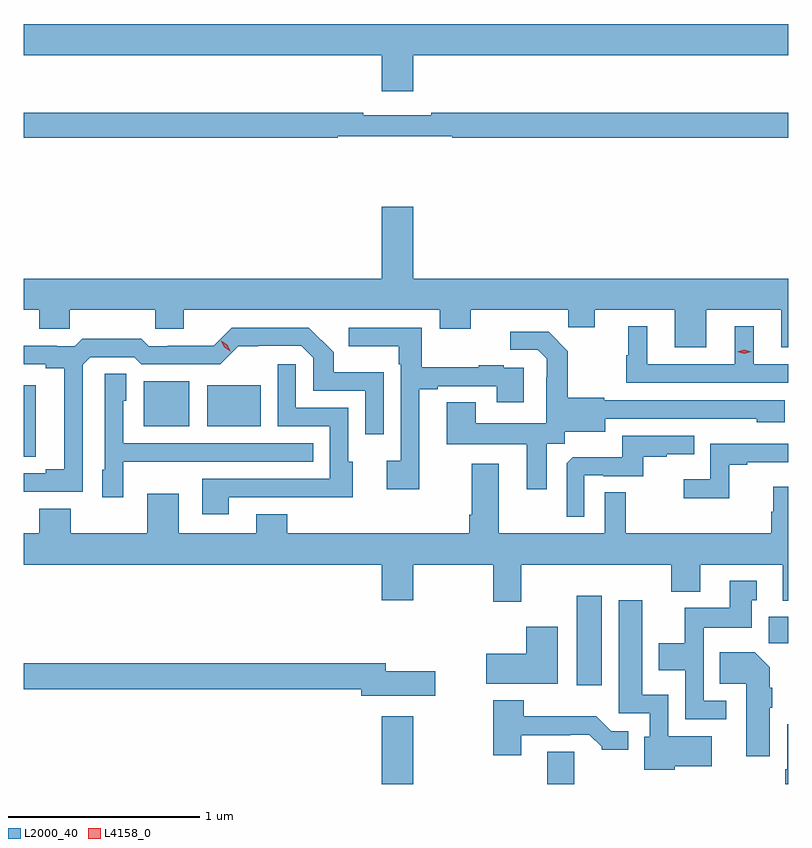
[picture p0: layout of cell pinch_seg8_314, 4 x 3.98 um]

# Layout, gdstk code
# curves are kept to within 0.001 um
import gdstk
lib = gdstk.Library(unit=1e-6, precision=1e-09)
def R(c, l, rs):  # rectangles x0, y0, x1, y1
    for r in rs: c.add(gdstk.rectangle(r[:2], r[2:], *l))
def P(c, l, *ps):  # polygons
    for p in ps: c.add(gdstk.Polygon(p, *l))
L2000_40 = (2000, 40)
L4158_0 = (4158, 0)

pinch_seg8_314 = lib.new_cell('pinch_seg8_314')
R(pinch_seg8_314, L2000_40, [(596.576,1140.66,596.74,1141.015), (597.443,1140.66,597.583,1140.83), (597.596,1141.176,597.727,1141.645), (598.601,1141.396,598.703,1141.534), (594.703,1142.371,594.766,1142.746), (595.331,1142.531,595.57,1142.767), (595.664,1142.531,595.942,1142.746)])
P(pinch_seg8_314, L2000_40, [(596.74,1144.472),(598.703,1144.472),(598.703,1144.636),(594.703,1144.636),(594.703,1144.472),(596.576,1144.472),(596.576,1144.284),(596.74,1144.284)],
  [(596.345,1144.05),(596.945,1144.05),(596.945,1144.042),(598.703,1144.042),(598.703,1144.171),(596.836,1144.171),(596.836,1144.158),(596.48,1144.158),(596.48,1144.171),(594.703,1144.171),(594.703,1144.042),(596.345,1144.042)],
  [(598.273,1143.14),(598.667,1143.14),(598.667,1142.946),(598.703,1142.946),(598.703,1143.304),(596.74,1143.304),(596.74,1143.679),(596.576,1143.679),(596.576,1143.304),(594.703,1143.304),(594.703,1143.14),(594.785,1143.14),(594.785,1143.042),(594.945,1143.042),(594.945,1143.14),(595.39,1143.14),(595.39,1143.042),(595.54,1143.042),(595.54,1143.14),(596.879,1143.14),(596.879,1143.041),(597.043,1143.041),(597.043,1143.14),(597.553,1143.14),(597.553,1143.05),(597.691,1143.05),(597.691,1143.14),(598.109,1143.14),(598.109,1142.946),(598.273,1142.946)],
  [(598.703,1142.856),(598.522,1142.856),(598.522,1143.055),(598.424,1143.055),(598.424,1142.856),(597.964,1142.856),(597.964,1143.055),(597.866,1143.055),(597.866,1142.904),(597.855,1142.904),(597.855,1142.76),(598.703,1142.76)],
  [(596.773,1142.724),(596.869,1142.724),(596.869,1142.742),(597.179,1142.742),(597.179,1142.658),(597.319,1142.658),(597.319,1142.838),(597.215,1142.838),(597.215,1142.851),(597.083,1142.851),(597.083,1142.84),(596.785,1142.84),(596.785,1143.048),(596.403,1143.048),(596.403,1142.951),(596.664,1142.951),(596.664,1142.855),(596.676,1142.855),(596.676,1142.35),(596.601,1142.35),(596.601,1142.202),(596.773,1142.202)],
  [(595.011,1142.853),(595.05,1142.892),(595.281,1142.892),(595.317,1142.856),(595.731,1142.856),(595.826,1142.951),(596.154,1142.952),(596.217,1142.889),(596.217,1142.718),(596.49,1142.718),(596.49,1142.49),(596.586,1142.49),(596.586,1142.815),(596.325,1142.815),(596.325,1142.918),(596.194,1143.048),(595.791,1143.048),(595.697,1142.954),(595.456,1142.954),(595.456,1142.949),(595.356,1142.949),(595.317,1142.989),(595.009,1142.989),(594.969,1142.949),(594.875,1142.949),(594.875,1142.954),(594.703,1142.954),(594.703,1142.856),(594.818,1142.856),(594.818,1142.834),(594.914,1142.834),(594.914,1142.306),(594.818,1142.306),(594.818,1142.286),(594.703,1142.286),(594.703,1142.19),(595.011,1142.19)],
  [(597.439,1142.44),(597.534,1142.44),(597.534,1142.504),(597.745,1142.504),(597.745,1142.571),(598.539,1142.57),(598.539,1142.552),(598.684,1142.552),(598.684,1142.667),(597.741,1142.667),(597.741,1142.68),(597.549,1142.68),(597.549,1142.925),(597.449,1143.025),(597.249,1143.025),(597.249,1142.931),(597.393,1142.931),(597.44,1142.884),(597.44,1142.789),(597.438,1142.789),(597.438,1142.548),(597.067,1142.548),(597.067,1142.657),(596.915,1142.657),(596.915,1142.438),(597.335,1142.438),(597.335,1142.202),(597.439,1142.202)],
  [(595.777,1142.16),(596.207,1142.16),(596.207,1142.159),(596.425,1142.159),(596.425,1142.346),(596.4,1142.346),(596.4,1142.628),(596.127,1142.628),(596.127,1142.857),(596.031,1142.857),(596.031,1142.532),(596.304,1142.532),(596.304,1142.256),(595.637,1142.256),(595.637,1142.07),(595.777,1142.07)],
  [(595.224,1142.345),(595.541,1142.345),(595.541,1142.346),(596.219,1142.346),(596.219,1142.442),(595.224,1142.442),(595.224,1142.664),(595.24,1142.664),(595.24,1142.807),(595.128,1142.807),(595.128,1142.304),(595.115,1142.304),(595.115,1142.16),(595.224,1142.16)],
  [(597.636,1142.274),(597.736,1142.274),(597.736,1142.271),(597.944,1142.271),(597.944,1142.373),(598.067,1142.373),(598.067,1142.384),(598.211,1142.384),(598.211,1142.481),(597.834,1142.481),(597.834,1142.369),(597.575,1142.369),(597.543,1142.337),(597.543,1142.057),(597.636,1142.057)],
  [(598.395,1142.331),(598.489,1142.331),(598.489,1142.343),(598.703,1142.343),(598.703,1142.439),(598.296,1142.439),(598.296,1142.254),(598.155,1142.254),(598.155,1142.156),(598.395,1142.156)],
  [(597.307,1141.808),(598.091,1141.808),(598.091,1141.667),(598.243,1141.667),(598.243,1141.808),(598.673,1141.808),(598.673,1141.619),(598.703,1141.619),(598.703,1142.215),(598.625,1142.215),(598.625,1142.085),(598.613,1142.085),(598.613,1141.972),(597.853,1141.972),(597.853,1142.186),(597.744,1142.186),(597.744,1141.972),(597.187,1141.972),(597.187,1142.335),(597.047,1142.335),(597.047,1142.068),(597.035,1142.068),(597.035,1141.972),(596.083,1141.972),(596.083,1142.071),(595.919,1142.071),(595.919,1141.972),(595.513,1141.972),(595.513,1142.179),(595.349,1142.179),(595.349,1141.972),(594.949,1141.972),(594.949,1142.101),(594.785,1142.101),(594.785,1141.972),(594.703,1141.972),(594.703,1141.808),(596.576,1141.808),(596.576,1141.62),(596.74,1141.62),(596.74,1141.808),(597.16,1141.808),(597.16,1141.614),(597.307,1141.614)],
  [(598.378,1141.095),(598.26,1141.095),(598.26,1141.478),(598.513,1141.478),(598.513,1141.62),(598.537,1141.62),(598.537,1141.723),(598.397,1141.723),(598.397,1141.582),(598.162,1141.582),(598.162,1141.396),(598.025,1141.396),(598.025,1141.256),(598.164,1141.256),(598.164,1140.999),(598.378,1140.999)],
  [(598.11,1140.752),(598.303,1140.752),(598.303,1140.91),(598.074,1140.91),(598.074,1141.126),(597.94,1141.126),(597.94,1141.621),(597.815,1141.621),(597.815,1141.029),(597.978,1141.029),(597.978,1140.906),(597.95,1140.906),(597.95,1140.734),(598.11,1140.734)],
  [(597.496,1141.483),(597.332,1141.483),(597.332,1141.342),(597.123,1141.342),(597.123,1141.184),(597.496,1141.184)],
  [(598.606,1141.06),(598.619,1141.06),(598.619,1141.163),(598.606,1141.163),(598.606,1141.27),(598.528,1141.348),(598.345,1141.348),(598.345,1141.184),(598.484,1141.184),(598.484,1140.804),(598.606,1140.804)],
  [(596.857,1141.251),(596.596,1141.251),(596.596,1141.292),(594.703,1141.292),(594.703,1141.156),(596.468,1141.156),(596.468,1141.121),(596.857,1141.121)],
  [(597.307,1140.915),(597.563,1140.915),(597.563,1140.918),(597.662,1140.918),(597.726,1140.854),(597.726,1140.839),(597.865,1140.839),(597.865,1140.936),(597.777,1140.936),(597.699,1141.015),(597.32,1141.015),(597.32,1141.099),(597.16,1141.099),(597.16,1140.81),(597.307,1140.81)],
  [(598.703,1140.973),(598.698,1140.973),(598.698,1140.736),(598.686,1140.736),(598.686,1140.66),(598.703,1140.66)])
P(pinch_seg8_314, L4158_0, [(598.473,1142.911),(598.437,1142.921),(598.437,1142.921),(598.437,1142.921),(598.473,1142.931),(598.508,1142.921),(598.509,1142.921),(598.508,1142.921)],
  [(595.784,1142.925),(595.753,1142.946),(595.737,1142.98),(595.737,1142.98),(595.737,1142.98),(595.768,1142.959),(595.784,1142.926),(595.784,1142.925)])

lib.write_gds('pinch_seg8_314.gds')
